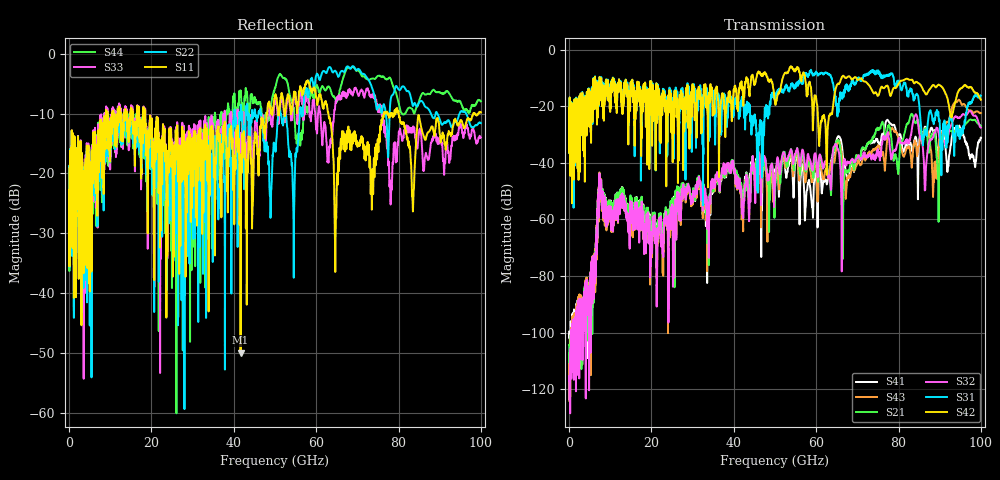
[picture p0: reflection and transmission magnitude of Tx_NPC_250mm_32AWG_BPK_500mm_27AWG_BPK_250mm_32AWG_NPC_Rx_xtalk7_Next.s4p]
! Info: Touchstone file created by Circ.  Input file=Tx_NPC_250mm_32AWG_BPK_500mm_27AWG_BPK_250mm_32AWG_NPC_Rx.circ
# Hz S RI R 50
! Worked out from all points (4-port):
!   10000 points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, 10 MHz to 100 GHz, reference 50 ohm
!   strongest paths, dB at 10 MHz, 25.01 GHz, 50.01 GHz, 75.01 GHz, 100 GHz:
!     S42: -29.4, -18.4, -18.5, -16.2, -17.6
!     S31: -29.4, -17.8, -16.3, -7.5, -16.2
!     S32: -115.7, -55.8, -47.0, -35.1, -27.5
!     S21: -104.4, -53.5, -51.2, -28.4, -26.9
!     S43: -124.1, -55.5, -44.2, -33.7, -22.4
!     S41: -99.7, -53.6, -42.3, -32.6, -31.0
!   lowest |S11| = -50.0 dB at 41.64 GHz (marker M1), VSWR 1.01, Z = 50.1 + j0.313 ohm
!   |S11| at or under -10 dB: 18.48 GHz to 47.95 GHz (29.47 GHz wide, 88.7 % of centre); 62.97 GHz to 76.45 GHz (13.47 GHz wide, 19.3 % of centre); 80.04 GHz to 98.12 GHz (18.08 GHz wide, 20.3 % of centre) (the widest 3 of 43)
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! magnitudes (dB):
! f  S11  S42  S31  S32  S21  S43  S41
! 10 MHz  -24.6  -29.4  -29.4  -115.7  -104.4  -124.1  -99.7
! 5.65 GHz  -17.7  -17.7  -18.1  -89.7  -100.5  -90.0  -91.2
! 7.68 GHz  -15.7  -12.6  -11.8  -46.4  -46.3  -46.3  -46.2
! 21.28 GHz  -10.7  -15.7  -14.8  -89.8  -71.5  -80.7  -71.5
! 41.64 GHz  -50.0  -12.7  -18.5  -50.0  -49.2  -50.4  -49.5
! 88.77 GHz  -13.6  -12.8  -24.4  -29.2  -29.2  -39.6  -28.5
! 100 GHz  -9.8  -17.6  -16.2  -27.5  -26.9  -22.4  -31.0
